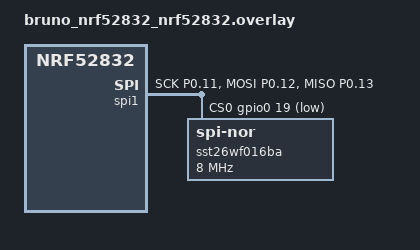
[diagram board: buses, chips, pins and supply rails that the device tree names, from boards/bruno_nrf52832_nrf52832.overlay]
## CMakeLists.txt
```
# SPDX-License-Identifier: Apache-2.0

cmake_minimum_required(VERSION 3.20.0)

find_package(Zephyr REQUIRED HINTS $ENV{ZEPHYR_BASE})
project(sst26vf016b_test)

target_sources(app PRIVATE src/main.c)
```

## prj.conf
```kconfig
CONFIG_MAIN_STACK_SIZE=16384
CONFIG_LOG=y

CONFIG_FLASH=y
CONFIG_SPI=y
CONFIG_SPI_NOR=y
CONFIG_SPI_NOR_SFDP_RUNTIME=y
# CONFIG_FLASH_JESD216_API=y  /* necessario apenas para flash_sfdp_read() */
# Para usar SFDP do devicetree (sem ler do chip no boot):
# trocar SFDP_RUNTIME por SFDP_DEVICETREE e descomentar sfdp-bfp no overlay
# CONFIG_SPI_NOR_SFDP_DEVICETREE=y


# Configure dependencies for CONFIG_IMG_MANAGER  
CONFIG_STREAM_FLASH=y
CONFIG_FLASH_MAP=y
```

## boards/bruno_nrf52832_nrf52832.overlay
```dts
/*
 * SST26VF016B SPI NOR Flash - Test overlay
 * Compatible: "jedec,spi-nor"
 * Interface: SPI1
 */

#include <zephyr/dt-bindings/gpio/gpio.h>

&i2c0 { status = "disabled"; };
&i2c1 { status = "disabled"; };
&spi0 { status = "disabled"; };
&adc  { status = "disabled"; };

&spi1 {
    compatible = "nordic,nrf-spim";
    status = "okay";

    #address-cells = <1>;
    #size-cells = <0>;

    cs-gpios = <&gpio0 19 GPIO_ACTIVE_LOW>; /* CS da flash externa */

    pinctrl-0 = <&spi1_default>;
    pinctrl-1 = <&spi1_sleep>;
    pinctrl-names = "default", "sleep";

    sst26wf016ba: sst26wf016ba@0 {
        compatible = "jedec,spi-nor";
        reg = <0>;
        spi-max-frequency = <8000000>; /* 8 MHz - max nRF52832 SPIM */ 
        jedec-id = [bf 26 41]; /* SST26VF016B (2.5-3.3V) */
        size = <16777216>; /* 16 Mbit = 2 MB */
        requires-ulbpr;
        status = "okay";

        /* SFDP BFP lido do chip - para uso com CONFIG_SPI_NOR_SFDP_DEVICETREE */
        /* sfdp-bfp = [
            fd 20 f1 ff ff ff ff 00 44 eb 08 6b 08 3b 80 bb
            fe ff ff ff ff ff 00 ff ff ff 44 0b 0c 20 0d d8
            0f d8 10 d8 20 91 48 24 80 6f 1d 81 ed 0f 77 38
            30 b0 30 b0 f7 a9 d5 5c 29 c2 5c ff f0 30 c0 80
        ]; */
    };
};

&pinctrl {
    spi1_default: spi1_default {
        group1 {
            psels = <NRF_PSEL(SPIM_SCK,  0, 11)>,
                    <NRF_PSEL(SPIM_MOSI, 0, 12)>,
                    <NRF_PSEL(SPIM_MISO, 0, 13)>;
        };
    };

    spi1_sleep: spi1_sleep {
        group1 {
            psels = <NRF_PSEL(SPIM_SCK,  0, 11)>,
                    <NRF_PSEL(SPIM_MOSI, 0, 12)>,
                    <NRF_PSEL(SPIM_MISO, 0, 13)>;
            low-power-enable;
        };
    };
};
```

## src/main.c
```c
/*
 * SST26VF016B SPI NOR Flash - Test Application
 *
 * SPDX-License-Identifier: Apache-2.0
 */

#include <zephyr/kernel.h>
#include <zephyr/device.h>
#include <zephyr/devicetree.h>
#include <zephyr/drivers/flash.h>
#include <string.h>

#include <zephyr/logging/log.h>
LOG_MODULE_REGISTER(app, CONFIG_LOG_DEFAULT_LEVEL);

#define FLASH_NODE DT_NODELABEL(sst26wf016ba)
#define TEST_OFFSET  0x0000
#define TEST_SIZE    4096
#define SECTOR_SIZE  4096

int main(void)
{
	const struct device *flash_dev = DEVICE_DT_GET(FLASH_NODE);
	uint8_t wr_buf[TEST_SIZE];
	uint8_t rd_buf[TEST_SIZE];
	int rc;

	LOG_INF("=== SST26VF016B Flash Test ===");

	if (!device_is_ready(flash_dev)) {
		LOG_ERR("Flash device %s not ready", flash_dev->name);
		return -ENODEV;
	}
	LOG_INF("Flash device %s is ready", flash_dev->name);

	/* Step 1: Erase sector */
	LOG_INF("Erasing %d bytes at offset 0x%04X ...", SECTOR_SIZE, TEST_OFFSET);
	rc = flash_erase(flash_dev, TEST_OFFSET, SECTOR_SIZE);
	if (rc) {
		LOG_ERR("Erase failed: %d", rc);
		return rc;
	}
	LOG_INF("Erase OK");

	/* Step 2: Verify erased (all 0xFF) */
	rc = flash_read(flash_dev, TEST_OFFSET, rd_buf, TEST_SIZE);
	if (rc) {
		LOG_ERR("Read after erase failed: %d", rc);
		return rc;
	}

	bool erased = true;
	for (int i = 0; i < TEST_SIZE; i++) {
		if (rd_buf[i] != 0xFF) {
			LOG_ERR("Erase verify failed at byte %d: 0x%02X", i, rd_buf[i]);
			erased = false;
			break;
		}
	}
	if (erased) {
		LOG_INF("Erase verify OK (all 0xFF)");
	}

	/* Step 3: Write test pattern */
	for (int i = 0; i < TEST_SIZE; i++) {
		wr_buf[i] = (uint8_t)i;
	}

	LOG_INF("Writing %d bytes at offset 0x%04X ...", TEST_SIZE, TEST_OFFSET);
	rc = flash_write(flash_dev, TEST_OFFSET, wr_buf, TEST_SIZE);
	if (rc) {
		LOG_ERR("Write failed: %d", rc);
		return rc;
	}
	LOG_INF("Write OK");

	/* Step 4: Read back and verify */
	memset(rd_buf, 0, TEST_SIZE);
	rc = flash_read(flash_dev, TEST_OFFSET, rd_buf, TEST_SIZE);
	if (rc) {
		LOG_ERR("Read failed: %d", rc);
		return rc;
	}

	if (memcmp(wr_buf, rd_buf, TEST_SIZE) == 0) {
		LOG_INF("Read-back verify OK - all %d bytes match!", TEST_SIZE);
	} else {
		LOG_ERR("Read-back verify FAILED!");
		for (int i = 0; i < TEST_SIZE; i++) {
			if (wr_buf[i] != rd_buf[i]) {
				LOG_ERR("  Mismatch at [%d]: wrote 0x%02X, read 0x%02X",
					i, wr_buf[i], rd_buf[i]);
				break;
			}
		}
	}

	LOG_INF("=== Test complete ===");
	return 0;
}
```
